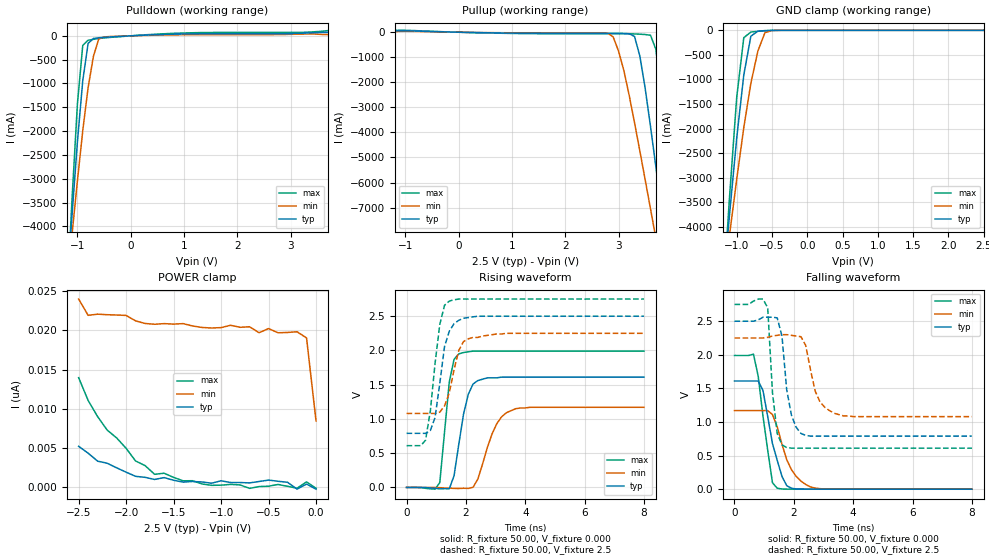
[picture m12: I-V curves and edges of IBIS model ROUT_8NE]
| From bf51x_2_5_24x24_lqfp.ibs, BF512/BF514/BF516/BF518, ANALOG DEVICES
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|   Model pupd_0408_25pad
[Model]   ROUT_8NE
Model_type   I/O
Polarity   Non-Inverting
Enable   Active-Low
Vinl =  0.70V
Vinh =   1.70V
Vmeas =   1.20V
Cref =  50.00pF
Rref =   1.00M
Vref =  0.000V
C_comp   6.05pF   6.01pF   6.08pF
[Temperature Range]   25.00   0.12k   -40.00
[Voltage Range]   2.5V   2.25V   2.75V
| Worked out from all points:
|   slope of the pulldown table from 0 to 0.375 V, typ, clamps not added: 19.4 ohm
|   slope of the pullup table from 0 to 0.375 V, typ, clamps not added: 22.8 ohm
|   GND clamp passes 1 mA (typ) near -0.47 V on its own axis
|   rising waveform, R_fixture 50.00, V_fixture 0.000: 20-80 % time 387ps typ, 567ps min, 274ps max; typ from 0 V to 1.61 V
|   rising waveform, R_fixture 50.00, V_fixture 2.5: 20-80 % time 355ps typ, 395ps min, 331ps max; typ from 0.79 V to 2.5 V
|   falling waveform, R_fixture 50.00, V_fixture 0.000: 20-80 % time 477ps typ, 575ps min, 356ps max; typ from 1.61 V to 0 V
|   falling waveform, R_fixture 50.00, V_fixture 2.5: 20-80 % time 282ps typ, 411ps min, 217ps max; typ from 2.5 V to 0.79 V
[Pulldown]
| voltage   I(typ)   I(min)   I(max)
-2.5V     -27.15A    -20.7A     -35.94A
-1.2V     -5.34A     -5.29A     -5.6A
-1.1V     -3.74A     -4.15A     -3.4A
-1V       -2.22A     -3.04A     -1.42A
-900mV    -940mA     -1.99A     -200mA
-800mV    -160mA     -1.09A     -92.44mA
-700mV    -55.58mA   -430mA     -73.3mA
-600mV    -41.04mA   -66.01mA   -56.67mA
-500mV    -31.32mA   -23.33mA   -43.4mA
1.2V      42.58mA    24.2mA     65.68mA
3.9V      60.28mA    26.84mA    120mA
5V        51.9mA     29.29mA    81.29mA
[Pullup]
| voltage   I(typ)   I(min)   I(max)
-2.5V     2.08mA     1.17mA     3.31mA
2.8V      -41.85mA   -40.93mA   -63.23mA
3V        -43.34mA   -750mA     -63.42mA
3.3V      -170mA     -3.61A     -68.37mA
3.4V      -950mA     -4.74A     -78.26mA
3.6V      -3.76A     -7.05A     -120mA
3.7V      -5.36A     -8.22A     -680mA
3.8V      -7A        -9.4A      -2.38A
3.9V      -8.66A     -10.59A    -4.51A
4V        -10.32A    -11.77A    -6.75A
4.1V      -12A       -12.96A    -9.05A
5V        -27.2A     -23.73A    -30.12A
[GND_clamp]
| voltage   I(typ)   I(min)   I(max)
-2.5V     -27.15A    -20.7A     -35.94A
-1.2V     -5.32A     -5.28A     -5.56A
-1.1V     -3.72A     -4.14A     -3.35A
-1V       -2.19A     -3.03A     -1.36A
-900mV    -910mA     -1.98A     -150mA
-800mV    -120mA     -1.08A     -34.78mA
-700mV    -16.72mA   -420mA     -20.13mA
-600mV    -6.07mA    -46.97mA   -8.68mA
-500mV    -1.31mA    -4.79mA    -1.8mA
2.5V      -290pA     19.66nA    -46.66pA
[POWER_clamp]
| voltage   I(typ)   I(min)   I(max)
-2.5V     5.19nA     24.01nA    13.96nA
-2.4V     4.31nA     21.93nA    11.05nA
-2.2V     3.03nA     22.01nA    7.27nA
-1.9V     1.35nA     21.22nA    3.31nA
-1.7V     950pA      20.79nA    1.61nA
-1.1V     470pA      20.31nA    200pA
-700mV    510pA      20.47nA    -190pA
-600mV    690pA      19.71nA    42.07pA
-500mV    870pA      20.24nA    88.23pA
-200mV    -280pA     19.83nA    -170pA
-100mV    360pA      19.04nA    640pA
0V        -290pA     8.42nA     -180pA
[Ramp]
| variable   typ   min   max
dV/dt_r   0.98/0.37n   0.71/0.57n   1.21/0.26n
dV/dt_f   1.07/0.28n   0.73/0.41n   1.33/0.19n
R_load = 50.00
[Rising Waveform]
R_fixture = 50.00
V_fixture = 0.000
V_fixture_min = 0.000
V_fixture_max = 0.000
L_fixture = 0.000H
C_fixture = 0.000F
| time   V(typ)   V(min)   V(max)
0s        0V         0V         0V
1.12ns    -20.82mV   -3.8mV     71.04mV
1.44ns    -19.33mV   -10.45mV   1.54V
1.6ns     170mV      -13.91mV   1.87V
1.76ns    630mV      -15.36mV   1.95V
2.08ns    1.36V      -13.99mV   1.98V
2.4ns     1.56V      120mV      1.99V
2.88ns    1.6V       780mV      1.99V
3.36ns    1.61V      1.09V      1.99V
8ns       1.61V      1.17V      1.99V
[Rising Waveform]
R_fixture = 50.00
V_fixture = 2.5
V_fixture_min = 2.25
V_fixture_max = 2.75
L_fixture = 0.000H
C_fixture = 0.000F
| time   V(typ)   V(min)   V(max)
0s        790mV      1.08V      610mV
640ps     790mV      1.08V      690mV
800ps     830mV      1.08V      1.11V
960ps     1.02V      1.08V      1.81V
1.12ns    1.52V      1.1V       2.38V
1.28ns    2.06V      1.19V      2.66V
1.44ns    2.28V      1.38V      2.72V
1.76ns    2.44V      2V         2.75V
2.08ns    2.48V      2.17V      2.75V
8ns       2.5V       2.25V      2.75V
[Falling Waveform]
R_fixture = 50.00
V_fixture = 0.000
V_fixture_min = 0.000
V_fixture_max = 0.000
L_fixture = 0.000H
C_fixture = 0.000F
| time   V(typ)   V(min)   V(max)
0s        1.61V      1.17V      1.99V
640ps     1.61V      1.17V      2.01V
800ps     1.61V      1.17V      1.68V
960ps     1.47V      1.17V      1.09V
1.28ns    680mV      1.11V      95.82mV
1.44ns    430mV      930mV      13.95mV
1.6ns     190mV      670mV      2.53mV
1.92ns    13.79mV    290mV      210uV
2.56ns    190uV      33.38mV    8uV
8ns       -900nV     0V         -710nV
[Falling Waveform]
R_fixture = 50.00
V_fixture = 2.5
V_fixture_min = 2.25
V_fixture_max = 2.75
L_fixture = 0.000H
C_fixture = 0.000F
| time   V(typ)   V(min)   V(max)
0s        2.5V       2.25V      2.75V
1.12ns    2.56V      2.26V      2.7V
1.28ns    2.56V      2.28V      1.44V
1.44ns    2.55V      2.29V      830mV
1.6ns     2.28V      2.3V       660mV
1.92ns    1.1V       2.29V      610mV
2.24ns    830mV      2.27V      610mV
2.72ns    790mV      1.46V      610mV
3.36ns    790mV      1.13V      610mV
8ns       790mV      1.08V      610mV
